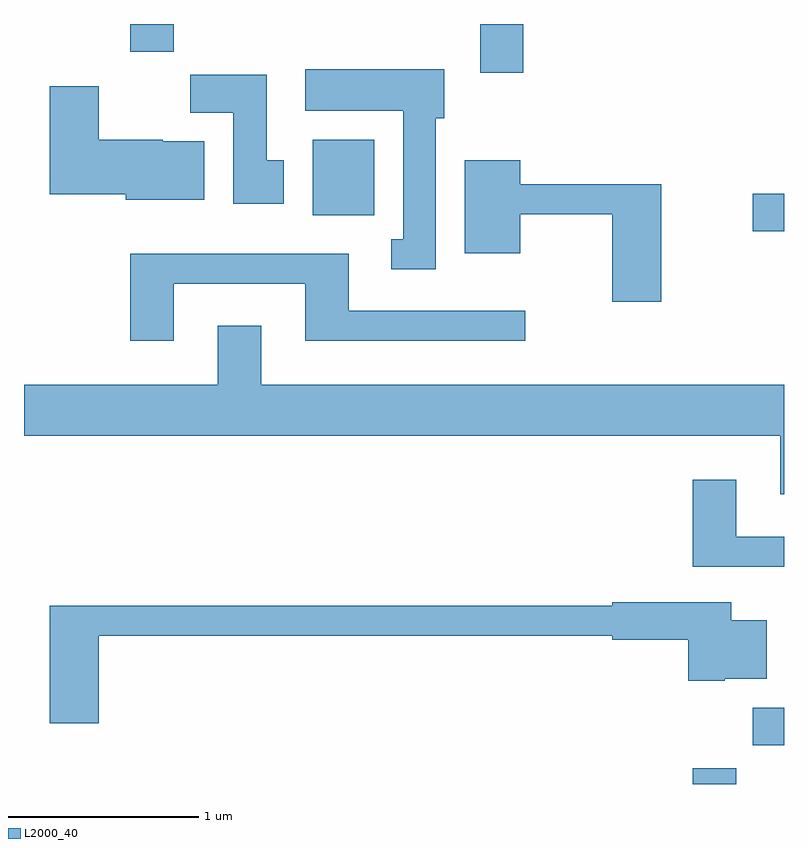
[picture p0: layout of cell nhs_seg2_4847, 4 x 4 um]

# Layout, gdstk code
import gdstk
lib = gdstk.Library(unit=1e-6, precision=1e-09)
def R(c, l, rs):  # rectangles x0, y0, x1, y1
    for r in rs: c.add(gdstk.rectangle(r[:2], r[2:], *l))
def P(c, l, *ps):  # polygons
    for p in ps: c.add(gdstk.Polygon(p, *l))
L2000_40 = (2000, 40)

nhs_seg2_4847 = lib.new_cell('nhs_seg2_4847')
R(nhs_seg2_4847, L2000_40, [(331.131,1059.802,331.359,1059.884), (331.446,1060.006,331.611,1060.204), (331.446,1062.711,331.611,1062.909), (329.131,1062.796,329.454,1063.194), (330.011,1063.546,330.239,1063.802), (328.171,1063.656,328.399,1063.802)])
P(nhs_seg2_4847, L2000_40, [(329.779,1063.306),(329.824,1063.306),(329.824,1063.564),(329.091,1063.564),(329.091,1063.346),(329.606,1063.346),(329.606,1062.669),(329.543,1062.669),(329.543,1062.511),(329.779,1062.511)],
  [(328.979,1063.084),(328.889,1063.084),(328.889,1063.534),(328.486,1063.534),(328.486,1063.336),(328.711,1063.336),(328.711,1062.856),(328.979,1062.856)],
  [(328.559,1063.184),(328.34,1063.184),(328.34,1063.194),(328.004,1063.194),(328.004,1063.474),(327.746,1063.474),(327.746,1062.906),(328.146,1062.906),(328.146,1062.876),(328.559,1062.876)],
  [(330.964,1062.959),(330.224,1062.959),(330.224,1063.084),(329.931,1063.084),(329.931,1062.596),(330.224,1062.596),(330.224,1062.801),(330.706,1062.801),(330.706,1062.341),(330.964,1062.341)],
  [(328.399,1062.436),(329.091,1062.436),(329.091,1062.136),(330.248,1062.136),(330.248,1062.294),(329.319,1062.294),(329.319,1062.594),(328.171,1062.594),(328.171,1062.136),(328.399,1062.136)],
  [(331.611,1061.904),(328.859,1061.904),(328.859,1062.214),(328.631,1062.214),(328.631,1061.904),(327.611,1061.904),(327.611,1061.636),(331.591,1061.636),(331.591,1061.326),(331.611,1061.326)],
  [(331.611,1061.104),(331.359,1061.104),(331.359,1061.404),(331.131,1061.404),(331.131,1060.946),(331.611,1060.946)],
  [(328.004,1060.581),(330.706,1060.581),(330.706,1060.561),(331.106,1060.561),(331.106,1060.346),(331.3,1060.346),(331.3,1060.356),(331.519,1060.356),(331.519,1060.664),(331.334,1060.664),(331.334,1060.759),(330.706,1060.759),(330.706,1060.739),(327.746,1060.739),(327.746,1060.121),(328.004,1060.121)])

lib.write_gds('nhs_seg2_4847.gds')
